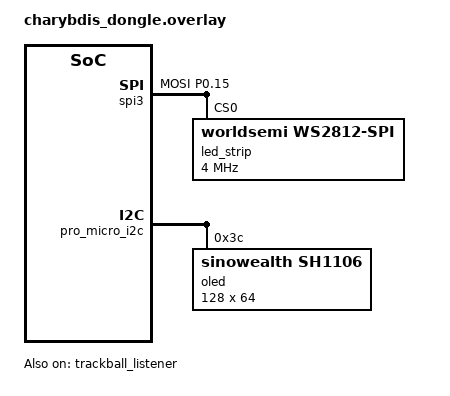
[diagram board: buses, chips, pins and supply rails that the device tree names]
#include "charybdis.dtsi"
#include "charybdis_ec11.dtsi"
#include "split_input.dtsi"

/ {
    chosen {
        zmk,kscan = &mock_kscan;
        zmk,sensors = &sensors;
        zephyr,display = &oled;
        zmk,underglow = &led_strip;
    };

    mock_kscan: kscan_1 {
        compatible = "zmk,kscan-mock";
        columns = <0>;
        rows = <0>;
        events = <0>;
    };
};

/*
 * RGB underglow stub for dongle - required for &rgb_ug behavior to work.
 * The dongle has no physical LEDs but needs the RGB subsystem active to
 * forward commands to peripherals. Uses SPI3 on an unused pin (P0.15/D2).
 */
#include <dt-bindings/led/led.h>
#include <dt-bindings/pinctrl/nrf-pinctrl.h>

&pinctrl {
    spi3_default: spi3_default {
        group1 {
            psels = <NRF_PSEL(SPIM_MOSI, 0, 15)>;
        };
    };
    spi3_sleep: spi3_sleep {
        group1 {
            psels = <NRF_PSEL(SPIM_MOSI, 0, 15)>;
            low-power-enable;
        };
    };
};

&spi3 {
    compatible = "nordic,nrf-spim";
    status = "okay";
    pinctrl-0 = <&spi3_default>;
    pinctrl-1 = <&spi3_sleep>;
    pinctrl-names = "default", "sleep";

    led_strip: ws2812@0 {
        compatible = "worldsemi,ws2812-spi";
        reg = <0>;
        spi-max-frequency = <4000000>;
        chain-length = <1>;
        spi-one-frame = <0x70>;
        spi-zero-frame = <0x40>;
        color-mapping = <LED_COLOR_ID_GREEN LED_COLOR_ID_RED LED_COLOR_ID_BLUE>;
    };
};

&trackball_listener {
    status = "okay";
};


// INFO: uncomment for dual trackball
// &trackball_left_listener {
//     status = "okay";
// };

&pro_micro_i2c {
    status = "okay";

    oled: ssd1306@3c {
        // compatible = "solomon,ssd1306fb";
        compatible = "sinowealth,sh1106";
        reg = <0x3c>;
        width = <128>;
        height = <64>;
        segment-offset = <2>;
        page-offset = <0>;
        display-offset = <0>;
        multiplex-ratio = <63>;
        segment-remap;
        com-invdir;
        inversion-on;
        prechargep = <0x22>;
    };
};
